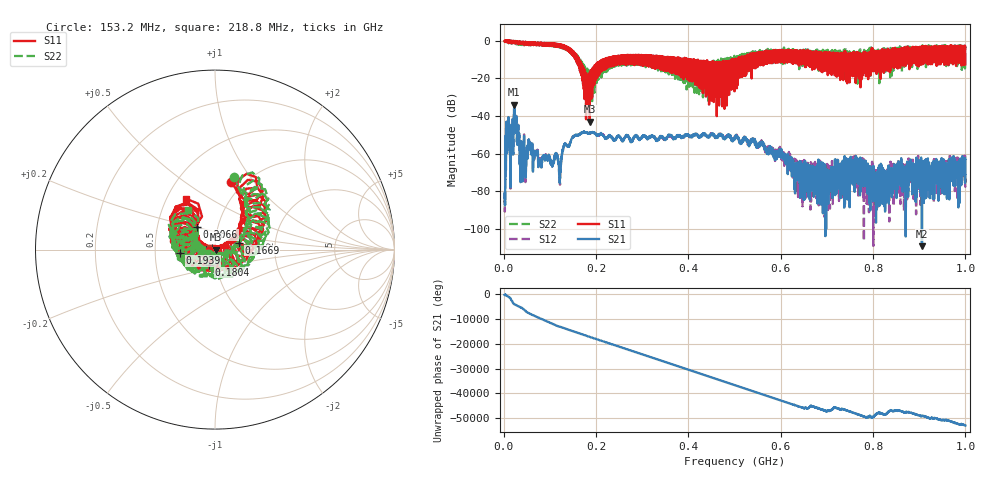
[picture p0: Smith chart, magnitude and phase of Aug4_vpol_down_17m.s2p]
!Keysight Technologies N9923A: A.12.45
!Date: Tuesday, 05 August 2025 20:40:03
!Timezone: (UTC+08:00) Kuala Lumpur, Singapore
!Model: N9923A
!Serial: MY61181427
!GPS Latitude:
!GPS Longitude:
!GPS TimeStamp: 0001-01-01 00:00:00Z
!GPS Seconds Since Last Read: 0
!CHECKSUM:1306396651
!Correction: S11(ON U)S21(ON U)S12(ON U)S22(ON U)
!S2P File: Measurements:S11,S21,S12,S22:
# Hz S DB R 50
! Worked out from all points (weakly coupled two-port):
!   4001 points, 2 MHz to 1 GHz, reference 50 ohm
!   highest |S21| = -33.97 dB at 22.96 MHz (marker M1); lowest = -109.0 dB at 905.9 MHz (marker M2)
!   lowest |S11| = -43.0 dB at 186.4 MHz (marker M3), VSWR 1.01, Z = 50.7 - j0.0333 ohm
!   |S11| at or under -10 dB: 162.9 MHz to 215.5 MHz (52.59 MHz wide, 27.8 % of centre); 405.5 MHz to 410.4 MHz (4.942 MHz wide, 1.21 % of centre); 412.2 MHz to 494 MHz (81.84 MHz wide, 18.1 % of centre)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
!   |S22| runs from -35.6 to 0.1 dB; largest |S21 - S12| = 0.0012
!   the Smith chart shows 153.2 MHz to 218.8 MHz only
!   S11 on the Smith chart (normalised r, x): 153.2 MHz: 0.87, +0.78; 166.9 MHz: 1.30, +0.10; 180.4 MHz: 0.92, -0.15; 193.9 MHz: 0.67, -0.02; 206.6 MHz: 0.80, +0.21; 218.8 MHz: 0.63, +0.40
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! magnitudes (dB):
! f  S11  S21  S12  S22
! 2 MHz  -0.1  -83.1  -81.2  -0.1
! 8.736 MHz  -0.4  -46.2  -46.0  -0.2
! 16.72 MHz  0.0  -54.8  -54.8  -0.1
! 22.96 MHz  -1.1  -34.0  -33.5  -1.5
! 44.66 MHz  -2.0  -54.7  -54.2  -2.4
! 57.64 MHz  -2.0  -54.0  -53.8  -1.9
! 121 MHz  -1.9  -72.1  -74.1  -2.1
! 153.2 MHz  -8.2  -50.6  -50.6  -7.5
! 166.9 MHz  -17.2  -49.4  -48.9  -15.4
! 168.4 MHz  -18.4  -49.0  -48.8  -15.9
! 180.4 MHz  -20.9  -48.9  -49.0  -20.1
! 186.4 MHz  -43.0  -49.0  -49.0  -20.8
! 193.9 MHz  -14.1  -48.6  -48.6  -16.0
! 206.6 MHz  -15.9  -49.8  -50.2  -19.6
! 218.8 MHz  -9.8  -51.1  -51.1  -11.5
! 334.8 MHz  -8.3  -52.8  -53.1  -10.3
! 501 MHz  -9.9  -51.8  -51.2  -9.0
! 667.4 MHz  -6.1  -70.0  -77.8  -7.0
! 754.7 MHz  -7.4  -64.4  -63.5  -15.5
! 833.8 MHz  -6.5  -76.5  -67.5  -13.9
! 905.9 MHz  -7.5  -109.0  -66.0  -6.5
! 1 GHz  -12.6  -63.2  -70.8  -4.0
